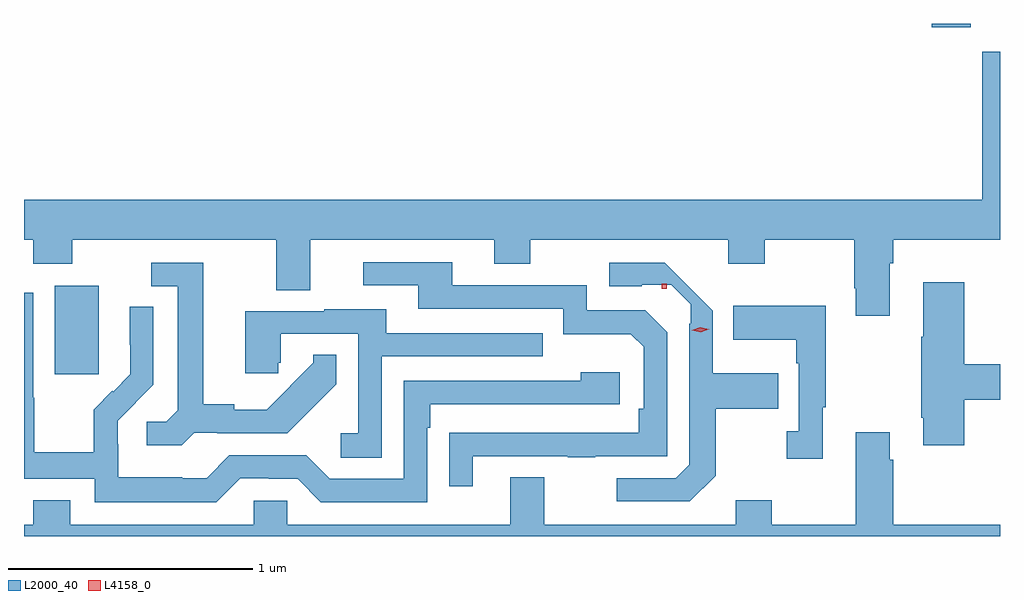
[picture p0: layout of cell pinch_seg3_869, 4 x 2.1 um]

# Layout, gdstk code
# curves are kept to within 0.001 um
import gdstk
lib = gdstk.Library(unit=1e-6, precision=1e-09)
def R(c, l, rs):  # rectangles x0, y0, x1, y1
    for r in rs: c.add(gdstk.rectangle(r[:2], r[2:], *l))
def P(c, l, *ps):  # polygons
    for p in ps: c.add(gdstk.Polygon(p, *l))
L2000_40 = (2000, 40)
L4158_0 = (4158, 0)

pinch_seg3_869 = lib.new_cell('pinch_seg3_869')
R(pinch_seg3_869, L2000_40, [(728.759,667.065,728.938,667.426), (732.353,668.487,732.513,668.501)])
P(pinch_seg3_869, L2000_40, [(732.181,667.52),(732.194,667.52),(732.194,667.616),(732.632,667.616),(732.632,668.386),(732.56,668.386),(732.56,667.78),(728.632,667.78),(728.632,667.616),(728.669,667.616),(728.669,667.517),(728.829,667.517),(728.829,667.616),(729.665,667.616),(729.665,667.408),(729.805,667.408),(729.805,667.616),(730.559,667.616),(730.559,667.517),(730.707,667.517),(730.707,667.616),(731.519,667.616),(731.519,667.517),(731.667,667.517),(731.667,667.616),(732.034,667.616),(732.034,667.417),(732.041,667.417),(732.041,667.305),(732.181,667.305)],
  [(730.471,666.729),(730.861,666.729),(730.861,666.724),(730.973,666.724),(730.973,666.729),(731.268,666.729),(731.268,667.236),(731.178,667.326),(730.938,667.326),(730.938,667.428),(730.387,667.428),(730.387,667.524),(730.023,667.524),(730.023,667.428),(730.247,667.428),(730.247,667.332),(730.842,667.332),(730.842,667.229),(731.119,667.229),(731.172,667.176),(731.172,666.922),(731.152,666.922),(731.152,666.825),(730.375,666.824),(730.375,666.606),(730.471,666.606)],
  [(731.467,666.649),(731.467,666.922),(731.723,666.922),(731.723,667.069),(731.454,667.069),(731.454,667.324),(731.257,667.521),(731.031,667.521),(731.031,667.425),(731.163,667.425),(731.163,667.431),(731.285,667.431),(731.364,667.352),(731.364,667.271),(731.358,667.271),(731.358,666.693),(731.304,666.639),(731.061,666.639),(731.061,666.543),(731.361,666.543)],
  [(729.33,666.825),(729.424,666.825),(729.424,666.822),(729.71,666.822),(729.912,667.024),(729.912,667.145),(729.818,667.145),(729.818,667.111),(729.626,666.919),(729.493,666.919),(729.493,666.941),(729.367,666.941),(729.367,667.521),(729.153,667.521),(729.153,667.425),(729.263,667.425),(729.263,666.917),(729.216,666.87),(729.135,666.87),(729.135,666.773),(729.278,666.773)],
  [(732.485,666.959),(732.632,666.959),(732.632,667.106),(732.485,667.106),(732.485,667.441),(732.317,667.441),(732.317,667.217),(732.31,667.217),(732.31,666.886),(732.317,666.886),(732.317,666.774),(732.485,666.774)],
  [(729.519,666.639),(729.635,666.639),(729.635,666.636),(729.753,666.636),(729.849,666.54),(730.284,666.54),(730.284,666.845),(730.297,666.845),(730.297,666.942),(731.074,666.942),(731.074,667.072),(730.913,667.072),(730.913,667.038),(730.188,667.038),(730.188,666.636),(729.885,666.636),(729.789,666.732),(729.474,666.732),(729.381,666.639),(729.281,666.639),(729.281,666.643),(729.018,666.643),(729.018,666.777),(729.016,666.777),(729.016,666.874),(729.162,667.022),(729.162,667.34),(729.066,667.34),(729.066,667.186),(729.068,667.186),(729.068,667.064),(728.997,666.993),(728.994,666.996),(728.917,666.919),(728.917,666.745),(728.673,666.745),(728.673,666.968),(728.67,666.968),(728.67,667.398),(728.632,667.398),(728.632,666.636),(728.922,666.636),(728.922,666.539),(729.419,666.539)],
  [(731.905,666.929),(731.917,666.929),(731.917,667.345),(731.539,667.345),(731.539,667.205),(731.796,667.205),(731.796,667.109),(731.808,667.109),(731.808,666.83),(731.757,666.83),(731.757,666.717),(731.905,666.717)],
  [(730.098,667.137),(730.757,667.137),(730.757,667.233),(730.117,667.233),(730.117,667.331),(729.863,667.331),(729.863,667.323),(729.539,667.323),(729.539,667.069),(729.675,667.069),(729.675,667.112),(729.684,667.112),(729.684,667.23),(730.002,667.23),(730.002,666.822),(729.93,666.822),(729.93,666.721),(730.098,666.721)],
  [(732.632,666.448),(732.194,666.448),(732.194,666.713),(732.181,666.713),(732.181,666.826),(732.041,666.826),(732.041,666.448),(731.697,666.448),(731.697,666.547),(731.549,666.547),(731.549,666.448),(730.765,666.448),(730.765,666.643),(730.625,666.643),(730.625,666.448),(729.711,666.448),(729.711,666.546),(729.573,666.546),(729.573,666.448),(728.821,666.448),(728.821,666.547),(728.669,666.547),(728.669,666.448),(728.632,666.448),(728.632,666.4),(732.632,666.4)])
R(pinch_seg3_869, L4158_0, [(731.246,667.415,731.266,667.435)])
P(pinch_seg3_869, L4158_0, [(731.405,667.237),(731.369,667.245),(731.369,667.245),(731.369,667.245),(731.404,667.257),(731.439,667.249),(731.44,667.249),(731.439,667.248)])

lib.write_gds('pinch_seg3_869.gds')
